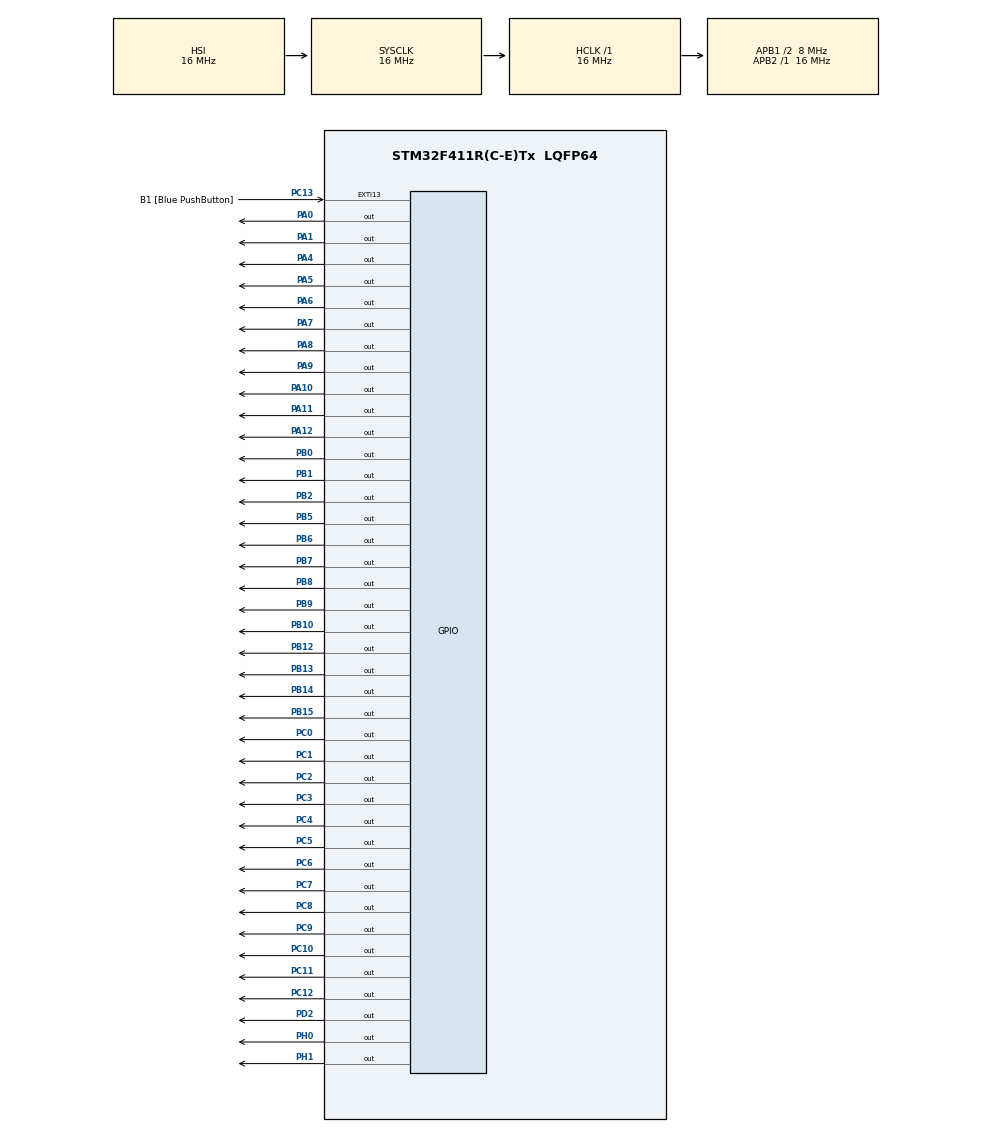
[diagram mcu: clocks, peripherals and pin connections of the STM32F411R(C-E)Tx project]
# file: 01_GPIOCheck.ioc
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Mcu.Family=STM32F4
Mcu.Name=STM32F411R(C-E)Tx
Mcu.Package=LQFP64
NVIC.PriorityGroup=NVIC_PRIORITYGROUP_0
NVIC.TIM2_IRQn=true\:0\:0\:false\:false\:true\:true\:true\:true
PA0-WKUP.GPIO_Speed=GPIO_SPEED_FREQ_HIGH
PA0-WKUP.Signal=GPIO_Output
PA1.GPIO_Speed=GPIO_SPEED_FREQ_HIGH
PA1.Signal=GPIO_Output
PA10.GPIO_Speed=GPIO_SPEED_FREQ_HIGH
PA10.Signal=GPIO_Output
PA11.GPIO_Speed=GPIO_SPEED_FREQ_HIGH
PA11.Signal=GPIO_Output
PA12.GPIO_Speed=GPIO_SPEED_FREQ_HIGH
PA12.Signal=GPIO_Output
PA13.Signal=SYS_JTMS-SWDIO
PA14.Signal=SYS_JTCK-SWCLK
PA2.GPIO_Label=USART_TX
PA2.Signal=USART2_TX
PA3.GPIO_Label=USART_RX
PA3.Signal=USART2_RX
PA4.GPIO_Speed=GPIO_SPEED_FREQ_HIGH
PA4.Signal=GPIO_Output
PA5.GPIO_Speed=GPIO_SPEED_FREQ_HIGH
PA5.Signal=GPIO_Output
PA6.GPIO_Speed=GPIO_SPEED_FREQ_HIGH
PA6.Signal=GPIO_Output
PA7.GPIO_Speed=GPIO_SPEED_FREQ_HIGH
PA7.Signal=GPIO_Output
PA8.GPIO_Speed=GPIO_SPEED_FREQ_HIGH
PA8.Signal=GPIO_Output
PA9.GPIO_Speed=GPIO_SPEED_FREQ_HIGH
PA9.Signal=GPIO_Output
PB0.GPIO_Speed=GPIO_SPEED_FREQ_HIGH
PB0.Signal=GPIO_Output
PB1.GPIO_Speed=GPIO_SPEED_FREQ_HIGH
PB1.Signal=GPIO_Output
PB10.GPIO_Speed=GPIO_SPEED_FREQ_HIGH
PB10.Signal=GPIO_Output
PB12.GPIO_Speed=GPIO_SPEED_FREQ_HIGH
PB12.Signal=GPIO_Output
PB13.GPIO_Speed=GPIO_SPEED_FREQ_HIGH
PB13.Signal=GPIO_Output
PB14.GPIO_Speed=GPIO_SPEED_FREQ_HIGH
PB14.Signal=GPIO_Output
PB15.GPIO_Speed=GPIO_SPEED_FREQ_HIGH
PB15.Signal=GPIO_Output
PB2.GPIO_Speed=GPIO_SPEED_FREQ_HIGH
PB2.Signal=GPIO_Output
PB3.Signal=SYS_JTDO-SWO
PB4.Signal=SYS_JTRST
PB5.GPIO_Speed=GPIO_SPEED_FREQ_HIGH
PB5.Signal=GPIO_Output
PB6.GPIO_Speed=GPIO_SPEED_FREQ_HIGH
PB6.Signal=GPIO_Output
PB7.GPIO_Speed=GPIO_SPEED_FREQ_HIGH
PB7.Signal=GPIO_Output
PB8.GPIO_Speed=GPIO_SPEED_FREQ_HIGH
PB8.Signal=GPIO_Output
PB9.GPIO_Speed=GPIO_SPEED_FREQ_HIGH
PB9.Signal=GPIO_Output
PC0.GPIO_Speed=GPIO_SPEED_FREQ_HIGH
PC0.Signal=GPIO_Output
PC1.GPIO_Speed=GPIO_SPEED_FREQ_HIGH
PC1.Signal=GPIO_Output
PC10.GPIO_Speed=GPIO_SPEED_FREQ_HIGH
PC10.Signal=GPIO_Output
PC11.GPIO_Speed=GPIO_SPEED_FREQ_HIGH
PC11.Signal=GPIO_Output
PC12.GPIO_Speed=GPIO_SPEED_FREQ_HIGH
PC12.Signal=GPIO_Output
PC13-ANTI_TAMP.GPIO_Label=B1 [Blue PushButton]
PC13-ANTI_TAMP.GPIO_ModeDefaultEXTI=GPIO_MODE_IT_FALLING
PC13-ANTI_TAMP.Signal=GPXTI13
PC14-OSC32_IN.Signal=RCC_OSC32_IN
PC15-OSC32_OUT.Signal=RCC_OSC32_OUT
PC2.GPIO_Speed=GPIO_SPEED_FREQ_HIGH
PC2.Signal=GPIO_Output
PC3.GPIO_Speed=GPIO_SPEED_FREQ_HIGH
PC3.Signal=GPIO_Output
PC4.GPIO_Speed=GPIO_SPEED_FREQ_HIGH
PC4.Signal=GPIO_Output
PC5.GPIO_Speed=GPIO_SPEED_FREQ_HIGH
PC5.Signal=GPIO_Output
PC6.GPIO_Speed=GPIO_SPEED_FREQ_HIGH
PC6.Signal=GPIO_Output
PC7.GPIO_Speed=GPIO_SPEED_FREQ_HIGH
PC7.Signal=GPIO_Output
PC8.GPIO_Speed=GPIO_SPEED_FREQ_HIGH
PC8.Signal=GPIO_Output
PC9.GPIO_Speed=GPIO_SPEED_FREQ_HIGH
PC9.Signal=GPIO_Output
PD2.GPIO_Speed=GPIO_SPEED_FREQ_HIGH
PD2.Signal=GPIO_Output
PH0\ -\ OSC_IN.GPIO_Speed=GPIO_SPEED_FREQ_HIGH
PH0\ -\ OSC_IN.Signal=GPIO_Output
PH1\ -\ OSC_OUT.GPIO_Speed=GPIO_SPEED_FREQ_HIGH
PH1\ -\ OSC_OUT.Signal=GPIO_Output
ProjectManager.HeapSize=0x200
ProjectManager.StackSize=0x400
ProjectManager.TargetToolchain=STM32CubeIDE
RCC.48MHZClocksFreq_Value=84000000
RCC.AHBFreq_Value=16000000
RCC.APB1CLKDivider=RCC_HCLK_DIV2
RCC.APB1Freq_Value=8000000
RCC.APB1TimFreq_Value=16000000
RCC.APB2Freq_Value=16000000
RCC.APB2TimFreq_Value=16000000
RCC.CortexFreq_Value=16000000
RCC.FLatency-AdvancedSettings=FLASH_LATENCY_0
RCC.HCLKFreq_Value=16000000
RCC.HSE_VALUE=8000000
RCC.HSI_VALUE=16000000
RCC.LSE_VALUE=32768
RCC.PLLN=336
RCC.PLLP=RCC_PLLP_DIV4
RCC.SYSCLKFreq_VALUE=16000000
RCC.VCOOutputFreq_Value=336000000
TIM2.AutoReloadPreload=TIM_AUTORELOAD_PRELOAD_ENABLE
TIM2.Period=500
TIM2.Prescaler=16000
VP_TIM2_VS_ClockSourceINT.Mode=Internal
board=NUCLEO-F411RE

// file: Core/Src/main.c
/* USER CODE BEGIN Header */
/**
  ******************************************************************************
  * @file           : main.c
  * @brief          : Main program body
  ******************************************************************************
  * @attention
  *
  * Copyright (c) 2026 STMicroelectronics.
  * All rights reserved.
  *
  * This software is licensed under terms that can be found in the LICENSE file
  * in the root directory of this software component.
  * If no LICENSE file comes with this software, it is provided AS-IS.
  *
  ******************************************************************************
  */
/* USER CODE END Header */
#include "main.h"

TIM_HandleTypeDef htim2;

/* USER CODE BEGIN PV */
uint8_t changePin = 0;
uint8_t conteo = 255;

/* USER CODE END PV */

void SystemClock_Config(void);
static void MX_GPIO_Init(void);
static void MX_TIM2_Init(void);

/* USER CODE BEGIN 0 */

void lightOnLEDS(void);

/* USER CODE END 0 */

int main(void)
{

  /* MCU Configuration--------------------------------------------------------*/

  /* Reset of all peripherals, Initializes the Flash interface and the Systick. */
  HAL_Init();

  /* Configure the system clock */
  SystemClock_Config();

  /* Initialize all configured peripherals */
  MX_GPIO_Init();
  MX_TIM2_Init();

  /* Infinite loop */
  while (1)
  {

    /* USER CODE BEGIN 3 */
	  if(changePin){
		  lightOnLEDS();
	  }
  }
  /* USER CODE END 3 */
}

void SystemClock_Config(void)
{
  RCC_OscInitTypeDef RCC_OscInitStruct = {0};
  RCC_ClkInitTypeDef RCC_ClkInitStruct = {0};

  /** Configure the main internal regulator output voltage
  */
  __HAL_RCC_PWR_CLK_ENABLE();
  __HAL_PWR_VOLTAGESCALING_CONFIG(PWR_REGULATOR_VOLTAGE_SCALE1);

  /** Initializes the RCC Oscillators according to the specified parameters
  * in the RCC_OscInitTypeDef structure.
  */
  RCC_OscInitStruct.OscillatorType = RCC_OSCILLATORTYPE_HSI;
  RCC_OscInitStruct.HSIState = RCC_HSI_ON;
  RCC_OscInitStruct.HSICalibrationValue = RCC_HSICALIBRATION_DEFAULT;
  RCC_OscInitStruct.PLL.PLLState = RCC_PLL_NONE;
  if (HAL_RCC_OscConfig(&RCC_OscInitStruct) != HAL_OK)
  {
    Error_Handler();
  }

  /** Initializes the CPU, AHB and APB buses clocks
  */
  RCC_ClkInitStruct.ClockType = RCC_CLOCKTYPE_HCLK|RCC_CLOCKTYPE_SYSCLK
                              |RCC_CLOCKTYPE_PCLK1|RCC_CLOCKTYPE_PCLK2;
  RCC_ClkInitStruct.SYSCLKSource = RCC_SYSCLKSOURCE_HSI;
  RCC_ClkInitStruct.AHBCLKDivider = RCC_SYSCLK_DIV1;
  RCC_ClkInitStruct.APB1CLKDivider = RCC_HCLK_DIV2;
  RCC_ClkInitStruct.APB2CLKDivider = RCC_HCLK_DIV1;

  if (HAL_RCC_ClockConfig(&RCC_ClkInitStruct, FLASH_LATENCY_0) != HAL_OK)
  {
    Error_Handler();
  }
}

static void MX_TIM2_Init(void)
{

  TIM_ClockConfigTypeDef sClockSourceConfig = {0};
  TIM_MasterConfigTypeDef sMasterConfig = {0};

  htim2.Instance = TIM2;
  htim2.Init.Prescaler = 16000;
  htim2.Init.CounterMode = TIM_COUNTERMODE_UP;
  htim2.Init.Period = 500;
  htim2.Init.ClockDivision = TIM_CLOCKDIVISION_DIV1;
  htim2.Init.AutoReloadPreload = TIM_AUTORELOAD_PRELOAD_ENABLE;
  if (HAL_TIM_Base_Init(&htim2) != HAL_OK)
  {
    Error_Handler();
  }
  sClockSourceConfig.ClockSource = TIM_CLOCKSOURCE_INTERNAL;
  if (HAL_TIM_ConfigClockSource(&htim2, &sClockSourceConfig) != HAL_OK)
  {
    Error_Handler();
  }
  sMasterConfig.MasterOutputTrigger = TIM_TRGO_RESET;
  sMasterConfig.MasterSlaveMode = TIM_MASTERSLAVEMODE_DISABLE;
  if (HAL_TIMEx_MasterConfigSynchronization(&htim2, &sMasterConfig) != HAL_OK)
  {
    Error_Handler();
  }
  /* USER CODE BEGIN TIM2_Init 2 */
  HAL_TIM_Base_Start_IT(&htim2);
  /* USER CODE END TIM2_Init 2 */

}

static void MX_GPIO_Init(void)
{
  GPIO_InitTypeDef GPIO_InitStruct = {0};

  /* GPIO Ports Clock Enable */
  __HAL_RCC_GPIOC_CLK_ENABLE();
  __HAL_RCC_GPIOH_CLK_ENABLE();
  __HAL_RCC_GPIOA_CLK_ENABLE();
  __HAL_RCC_GPIOB_CLK_ENABLE();
  __HAL_RCC_GPIOD_CLK_ENABLE();

  /*Configure GPIO pin Output Level */
  HAL_GPIO_WritePin(GPIOH, GPIO_PIN_0|GPIO_PIN_1, GPIO_PIN_RESET);

  /*Configure GPIO pin Output Level */
  HAL_GPIO_WritePin(GPIOC, GPIO_PIN_0|GPIO_PIN_1|GPIO_PIN_2|GPIO_PIN_3
                          |GPIO_PIN_4|GPIO_PIN_5|GPIO_PIN_6|GPIO_PIN_7
                          |GPIO_PIN_8|GPIO_PIN_9|GPIO_PIN_10|GPIO_PIN_11
                          |GPIO_PIN_12, GPIO_PIN_RESET);

  /*Configure GPIO pin Output Level */
  HAL_GPIO_WritePin(GPIOA, GPIO_PIN_0|GPIO_PIN_1|GPIO_PIN_4|GPIO_PIN_5
                          |GPIO_PIN_6|GPIO_PIN_7|GPIO_PIN_8|GPIO_PIN_9
                          |GPIO_PIN_10|GPIO_PIN_11|GPIO_PIN_12, GPIO_PIN_RESET);

  /*Configure GPIO pin Output Level */
  HAL_GPIO_WritePin(GPIOB, GPIO_PIN_0|GPIO_PIN_1|GPIO_PIN_2|GPIO_PIN_10
                          |GPIO_PIN_12|GPIO_PIN_13|GPIO_PIN_14|GPIO_PIN_15
                          |GPIO_PIN_5|GPIO_PIN_6|GPIO_PIN_7|GPIO_PIN_8
                          |GPIO_PIN_9, GPIO_PIN_RESET);

  /*Configure GPIO pin Output Level */
  HAL_GPIO_WritePin(GPIOD, GPIO_PIN_2, GPIO_PIN_RESET);

  /*Configure GPIO pin : B1_Pin */
  GPIO_InitStruct.Pin = B1_Pin;
  GPIO_InitStruct.Mode = GPIO_MODE_IT_FALLING;
  GPIO_InitStruct.Pull = GPIO_NOPULL;
  HAL_GPIO_Init(B1_GPIO_Port, &GPIO_InitStruct);

  /*Configure GPIO pins : PH0 PH1 */
  GPIO_InitStruct.Pin = GPIO_PIN_0|GPIO_PIN_1;
  GPIO_InitStruct.Mode = GPIO_MODE_OUTPUT_PP;
  GPIO_InitStruct.Pull = GPIO_NOPULL;
  GPIO_InitStruct.Speed = GPIO_SPEED_FREQ_HIGH;
  HAL_GPIO_Init(GPIOH, &GPIO_InitStruct);

  /*Configure GPIO pins : PC0 PC1 PC2 PC3
                           PC4 PC5 PC6 PC7
                           PC8 PC9 PC10 PC11
                           PC12 */
  GPIO_InitStruct.Pin = GPIO_PIN_0|GPIO_PIN_1|GPIO_PIN_2|GPIO_PIN_3
                          |GPIO_PIN_4|GPIO_PIN_5|GPIO_PIN_6|GPIO_PIN_7
                          |GPIO_PIN_8|GPIO_PIN_9|GPIO_PIN_10|GPIO_PIN_11
                          |GPIO_PIN_12;
  GPIO_InitStruct.Mode = GPIO_MODE_OUTPUT_PP;
  GPIO_InitStruct.Pull = GPIO_NOPULL;
  GPIO_InitStruct.Speed = GPIO_SPEED_FREQ_HIGH;
  HAL_GPIO_Init(GPIOC, &GPIO_InitStruct);

  /*Configure GPIO pins : PA0 PA1 PA4 PA5
                           PA6 PA7 PA8 PA9
                           PA10 PA11 PA12 */
  GPIO_InitStruct.Pin = GPIO_PIN_0|GPIO_PIN_1|GPIO_PIN_4|GPIO_PIN_5
                          |GPIO_PIN_6|GPIO_PIN_7|GPIO_PIN_8|GPIO_PIN_9
                          |GPIO_PIN_10|GPIO_PIN_11|GPIO_PIN_12;
  GPIO_InitStruct.Mode = GPIO_MODE_OUTPUT_PP;
  GPIO_InitStruct.Pull = GPIO_NOPULL;
  GPIO_InitStruct.Speed = GPIO_SPEED_FREQ_HIGH;
  HAL_GPIO_Init(GPIOA, &GPIO_InitStruct);

  /*Configure GPIO pins : USART_TX_Pin USART_RX_Pin */
  GPIO_InitStruct.Pin = USART_TX_Pin|USART_RX_Pin;
  GPIO_InitStruct.Mode = GPIO_MODE_AF_PP;
  GPIO_InitStruct.Pull = GPIO_NOPULL;
  GPIO_InitStruct.Speed = GPIO_SPEED_FREQ_VERY_HIGH;
  GPIO_InitStruct.Alternate = GPIO_AF7_USART2;
  HAL_GPIO_Init(GPIOA, &GPIO_InitStruct);

  /*Configure GPIO pins : PB0 PB1 PB2 PB10
                           PB12 PB13 PB14 PB15
                           PB5 PB6 PB7 PB8
                           PB9 */
  GPIO_InitStruct.Pin = GPIO_PIN_0|GPIO_PIN_1|GPIO_PIN_2|GPIO_PIN_10
                          |GPIO_PIN_12|GPIO_PIN_13|GPIO_PIN_14|GPIO_PIN_15
                          |GPIO_PIN_5|GPIO_PIN_6|GPIO_PIN_7|GPIO_PIN_8
                          |GPIO_PIN_9;
  GPIO_InitStruct.Mode = GPIO_MODE_OUTPUT_PP;
  GPIO_InitStruct.Pull = GPIO_NOPULL;
  GPIO_InitStruct.Speed = GPIO_SPEED_FREQ_HIGH;
  HAL_GPIO_Init(GPIOB, &GPIO_InitStruct);

  /*Configure GPIO pin : PD2 */
  GPIO_InitStruct.Pin = GPIO_PIN_2;
  GPIO_InitStruct.Mode = GPIO_MODE_OUTPUT_PP;
  GPIO_InitStruct.Pull = GPIO_NOPULL;
  GPIO_InitStruct.Speed = GPIO_SPEED_FREQ_HIGH;
  HAL_GPIO_Init(GPIOD, &GPIO_InitStruct);

}

/* USER CODE BEGIN 4 */

void lightOnLEDS(void){
	changePin = 0;
	conteo ++;
	switch (conteo) {
		case 0:
			HAL_GPIO_WritePin(GPIOA, GPIO_PIN_1, RESET);
			HAL_GPIO_WritePin(GPIOA, GPIO_PIN_5, SET);
			break;
		case 1:
			HAL_GPIO_WritePin(GPIOA, GPIO_PIN_5, RESET);
			HAL_GPIO_WritePin(GPIOA, GPIO_PIN_6, SET);
			break;
		case 2:
			HAL_GPIO_WritePin(GPIOA, GPIO_PIN_6, RESET);
			HAL_GPIO_WritePin(GPIOA, GPIO_PIN_7, SET);
			break;
		case 3:
			HAL_GPIO_WritePin(GPIOA, GPIO_PIN_7, RESET);
			HAL_GPIO_WritePin(GPIOA, GPIO_PIN_8, SET);
			break;
		case 4:
			HAL_GPIO_WritePin(GPIOA, GPIO_PIN_8, RESET);
			HAL_GPIO_WritePin(GPIOA, GPIO_PIN_9, SET);
			break;
		case 5:
			HAL_GPIO_WritePin(GPIOA, GPIO_PIN_9, RESET);
			HAL_GPIO_WritePin(GPIOB, GPIO_PIN_6, SET);
			break;
		case 6:
			HAL_GPIO_WritePin(GPIOB, GPIO_PIN_6, RESET);
			HAL_GPIO_WritePin(GPIOB, GPIO_PIN_8, SET);
			break;
		case 7:
			HAL_GPIO_WritePin(GPIOB, GPIO_PIN_8, RESET);
			HAL_GPIO_WritePin(GPIOB, GPIO_PIN_9, SET);
			break;
		case 8:
			HAL_GPIO_WritePin(GPIOB, GPIO_PIN_9, RESET);
			HAL_GPIO_WritePin(GPIOC, GPIO_PIN_9, SET);
			break;
		case 9:
			HAL_GPIO_WritePin(GPIOC, GPIO_PIN_9, RESET);
			HAL_GPIO_WritePin(GPIOC, GPIO_PIN_8, SET);
			break;
		case 10:
			HAL_GPIO_WritePin(GPIOC, GPIO_PIN_8, RESET);
			HAL_GPIO_WritePin(GPIOC, GPIO_PIN_6, SET);
			break;
		case 11:
			HAL_GPIO_WritePin(GPIOC, GPIO_PIN_6, RESET);
			HAL_GPIO_WritePin(GPIOC, GPIO_PIN_5, SET);
			break;
		case 12:
			HAL_GPIO_WritePin(GPIOC, GPIO_PIN_5, RESET);
			HAL_GPIO_WritePin(GPIOA, GPIO_PIN_12, SET);
			break;
		case 13:
			HAL_GPIO_WritePin(GPIOA, GPIO_PIN_12, RESET);
			HAL_GPIO_WritePin(GPIOA, GPIO_PIN_11, SET);
			break;
		case 14:
			HAL_GPIO_WritePin(GPIOA, GPIO_PIN_11, RESET);
			HAL_GPIO_WritePin(GPIOB, GPIO_PIN_12, SET);
			break;
		case 15: //en cuanto a la board tactica este pin aparece.
			HAL_GPIO_WritePin(GPIOB, GPIO_PIN_12, RESET);
			//HAL_GPIO_WritePin(GPIOB, GPIO_PIN_11, SET);
			break;
		case 16:
			//HAL_GPIO_WritePin(GPIOB, GPIO_PIN_11, RESET);
			HAL_GPIO_WritePin(GPIOC, GPIO_PIN_7, SET);
			break;
		case 17:
			HAL_GPIO_WritePin(GPIOC, GPIO_PIN_7, RESET);
			HAL_GPIO_WritePin(GPIOB, GPIO_PIN_2, SET);
			break;
		case 18:
			HAL_GPIO_WritePin(GPIOB, GPIO_PIN_2, RESET);
			HAL_GPIO_WritePin(GPIOB, GPIO_PIN_1, SET);
			break;
		case 19:
			HAL_GPIO_WritePin(GPIOB, GPIO_PIN_1, RESET);
			HAL_GPIO_WritePin(GPIOB, GPIO_PIN_15, SET);
			break;
		case 20:
			HAL_GPIO_WritePin(GPIOB, GPIO_PIN_15, RESET);
			HAL_GPIO_WritePin(GPIOB, GPIO_PIN_14, SET);
			break;
		case 21:
			HAL_GPIO_WritePin(GPIOB, GPIO_PIN_14, RESET);
			HAL_GPIO_WritePin(GPIOB, GPIO_PIN_13, SET);
			break;
		case 22:
			HAL_GPIO_WritePin(GPIOB, GPIO_PIN_13, RESET);
			HAL_GPIO_WritePin(GPIOC, GPIO_PIN_4, SET);
			break;
		case 23:
			HAL_GPIO_WritePin(GPIOC, GPIO_PIN_4, RESET);
			HAL_GPIO_WritePin(GPIOA, GPIO_PIN_10, SET);
			break;
		case 24:
			HAL_GPIO_WritePin(GPIOA, GPIO_PIN_10, RESET);
			HAL_GPIO_WritePin(GPIOB, GPIO_PIN_5, SET);
			break;
		case 25:
			HAL_GPIO_WritePin(GPIOB, GPIO_PIN_5, RESET);
			HAL_GPIO_WritePin(GPIOB, GPIO_PIN_10, SET);
			break;
			//Termina el lado de mayor cantidad de pines
		case 26:
			HAL_GPIO_WritePin(GPIOB, GPIO_PIN_10, RESET);
			HAL_GPIO_WritePin(GPIOA, GPIO_PIN_0, SET);
			break;
		case 27:
			HAL_GPIO_WritePin(GPIOA, GPIO_PIN_0, RESET);
			HAL_GPIO_WritePin(GPIOD, GPIO_PIN_2, SET);
			break;
		case 28:
			HAL_GPIO_WritePin(GPIOD, GPIO_PIN_2, RESET);
			HAL_GPIO_WritePin(GPIOC, GPIO_PIN_10, SET);
			break;
		case 29:
			HAL_GPIO_WritePin(GPIOC, GPIO_PIN_10, RESET);
			HAL_GPIO_WritePin(GPIOC, GPIO_PIN_11, SET);
			break;
		case 30:
			HAL_GPIO_WritePin(GPIOC, GPIO_PIN_11, RESET);
			HAL_GPIO_WritePin(GPIOC, GPIO_PIN_12, SET);
			break;
		case 31:
			HAL_GPIO_WritePin(GPIOC, GPIO_PIN_12, RESET);
			HAL_GPIO_WritePin(GPIOB, GPIO_PIN_7, SET);
			break;
		case 32:
			HAL_GPIO_WritePin(GPIOB, GPIO_PIN_7, RESET);
			HAL_GPIO_WritePin(GPIOH, GPIO_PIN_0, SET);
			break;
		case 33:
			HAL_GPIO_WritePin(GPIOH, GPIO_PIN_0, RESET);
			HAL_GPIO_WritePin(GPIOH, GPIO_PIN_1, SET);
			break;
		case 34:
			HAL_GPIO_WritePin(GPIOH, GPIO_PIN_1, RESET);
			HAL_GPIO_WritePin(GPIOC, GPIO_PIN_3, SET);
			break;
		case 35:
			HAL_GPIO_WritePin(GPIOC, GPIO_PIN_3, RESET);
			HAL_GPIO_WritePin(GPIOC, GPIO_PIN_2, SET);
			break;
		case 36:
			HAL_GPIO_WritePin(GPIOC, GPIO_PIN_2, RESET);
			HAL_GPIO_WritePin(GPIOC, GPIO_PIN_1, SET);
			break;
		case 37:
			HAL_GPIO_WritePin(GPIOC, GPIO_PIN_1, RESET);
			HAL_GPIO_WritePin(GPIOC, GPIO_PIN_0, SET);
			break;
		case 38:
			HAL_GPIO_WritePin(GPIOC, GPIO_PIN_0, RESET);
			HAL_GPIO_WritePin(GPIOB, GPIO_PIN_0, SET);
			break;
		case 39:
			HAL_GPIO_WritePin(GPIOB, GPIO_PIN_0, RESET);
			HAL_GPIO_WritePin(GPIOA, GPIO_PIN_4, SET);
			break;
		case 40:
			HAL_GPIO_WritePin(GPIOA, GPIO_PIN_4, RESET);
			HAL_GPIO_WritePin(GPIOA, GPIO_PIN_1, SET);
			conteo = 255;
			break;

		default:
			HAL_GPIO_WritePin(GPIOA, GPIO_PIN_5, SET);
			break;
	}
}

void HAL_TIM_PeriodElapsedCallback(TIM_HandleTypeDef *htim){
	if(htim->Instance == TIM2){
		changePin = 1;
	}
}
/* USER CODE END 4 */

void Error_Handler(void)
{
  __disable_irq();
  while (1)
  {
  }
}
